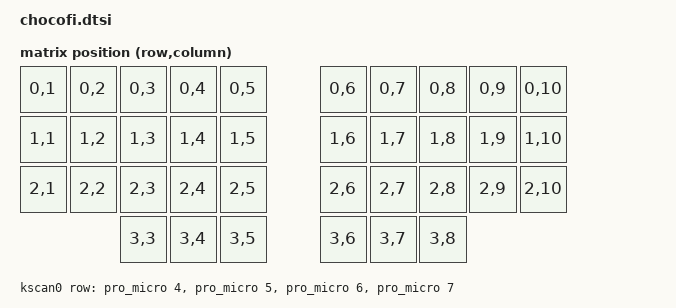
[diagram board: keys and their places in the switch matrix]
/* Chocofi 36-key, five-column split shield.
 * SPDX-License-Identifier: MIT
 */

#include <dt-bindings/zmk/matrix_transform.h>
#include "chocofi-layouts.dtsi"

/ {
    chosen {
        zmk,physical-layout = &default_layout;
        zmk,kscan = &kscan0;
    };

    default_transform: keymap_transform_1 {
        compatible = "zmk,matrix-transform";
        columns = <10>;
        rows = <4>;
        map = <
RC(0,1) RC(0,2) RC(0,3) RC(0,4) RC(0,5)  RC(0,6) RC(0,7) RC(0,8) RC(0,9) RC(0,10)
RC(1,1) RC(1,2) RC(1,3) RC(1,4) RC(1,5)  RC(1,6) RC(1,7) RC(1,8) RC(1,9) RC(1,10)
RC(2,1) RC(2,2) RC(2,3) RC(2,4) RC(2,5)  RC(2,6) RC(2,7) RC(2,8) RC(2,9) RC(2,10)
                        RC(3,3) RC(3,4) RC(3,5)  RC(3,6) RC(3,7) RC(3,8)
        >;
    };

    kscan0: kscan {
        compatible = "zmk,kscan-gpio-matrix";
        wakeup-source;
        diode-direction = "col2row";
        row-gpios
            = <&pro_micro 4 (GPIO_ACTIVE_HIGH | GPIO_PULL_DOWN)>
            , <&pro_micro 5 (GPIO_ACTIVE_HIGH | GPIO_PULL_DOWN)>
            , <&pro_micro 6 (GPIO_ACTIVE_HIGH | GPIO_PULL_DOWN)>
            , <&pro_micro 7 (GPIO_ACTIVE_HIGH | GPIO_PULL_DOWN)>
            ;
    };
};

/* The OLED is intentionally not declared here.
 * Central-dongle display variants own their own display node, as in Hana.
 */
&pro_micro_i2c {
    status = "okay";
};
